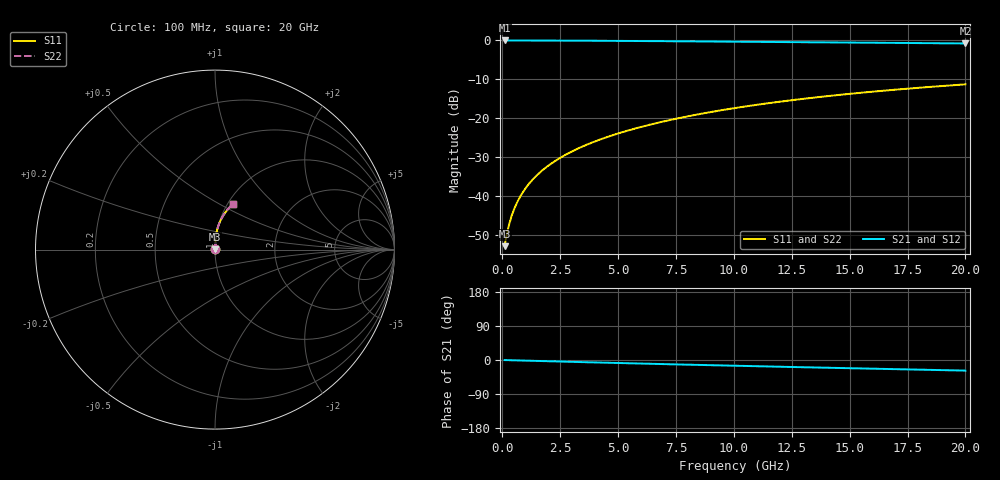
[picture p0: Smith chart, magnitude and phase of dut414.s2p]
! Touchstone file exported from HFSS 2024.1.0
!  File:  C:/UserFiles/LocalFiles/RDL_TSV_Batchsim/temp_RDL_top_414_1779675696.aedt
!  Generated:  10:23:54 AM May 25, 2026
!  Design:  RDL_top
!  Project:  temp_RDL_top_414_1779675696
!  Setup:  Setup1
!  Solution:  Sweep
! Variables:
!  dtsv = 10.80580581um
!  hbump = 3um
!  htsv = 89.86um
!  ldown = 100um
!  lrdl = 379.2um
!  p = 40
!  p1 = 48.55um
!  rhole = 1um
!  t = 450um
!  tdown = 3.915915916um
!  trdl = 3.71um
!  wdown = 15.38538539um
!  wrdl = 21.82um
# GHz S MA R 50.000000
! Terminal data exported
! Port[1] = Box2_T1
! Port[2] = Box2_T2
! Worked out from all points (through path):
!   200 points, 100 MHz to 20 GHz, reference 50 ohm
!   highest |S21| = -0.02 dB at 100 MHz (marker M1); lowest = -0.8 dB at 20 GHz (marker M2)
!   group delay of S21, straight-line fit = 3.85 ps
!   lowest |S11| = -52.7 dB at 100 MHz (marker M3), VSWR 1.00, Z = 50.2 + j0.137 ohm
!   |S11| at or under -10 dB: start of sweep to end of sweep
!   |S22| runs from -52.7 to -11.3 dB; largest |S21 - S12| = 4.5e-15
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0.1  0.002306 36.3  0.9981 -0.2  0.9981 -0.2  0.002306 36.3
! Gamma 0 0 0 0
! Port Impedance 50 0 50 0
0.2  0.003314 54.0  0.998 -0.3  0.998 -0.3  0.003314 54.0
0.3  0.004439 62.6  0.9979 -0.5  0.9979 -0.5  0.004439 62.6
0.4  0.005588 67.8  0.9978 -0.7  0.9978 -0.7  0.005588 67.8
0.5  0.006747 71.2  0.9977 -0.8  0.9977 -0.8  0.006747 71.2
0.6  0.007916 73.8  0.9976 -1.0  0.9976 -1.0  0.007916 73.8
0.8  0.01028 77.3  0.9974 -1.3  0.9974 -1.3  0.01028 77.3
1.1  0.01389 80.4  0.997 -1.8  0.997 -1.8  0.01389 80.4
1.3  0.01632 81.8  0.9967 -2.1  0.9967 -2.1  0.01632 81.8
1.6  0.02001 83.2  0.9963 -2.6  0.9963 -2.6  0.02001 83.2
2.1  0.02622 84.7  0.9953 -3.4  0.9953 -3.4  0.02622 84.7
2.7  0.03381 85.7  0.9938 -4.4  0.9938 -4.4  0.03381 85.6
3.5  0.04413 86.3  0.9914 -5.7  0.9914 -5.7  0.04412 86.2
4.2  0.05336 86.4  0.989 -6.7  0.989 -6.7  0.05336 86.4
5  0.06413 86.3  0.9858 -8.0  0.9858 -8.0  0.06413 86.3
5.9  0.07652 85.9  0.982 -9.3  0.982 -9.3  0.07652 85.9
6.8  0.08915 85.3  0.978 -10.6  0.978 -10.6  0.08914 85.2
8.4  0.112 83.8  0.9705 -12.9  0.9705 -12.9  0.112 83.7
10.1  0.1366 81.8  0.9624 -15.2  0.9624 -15.2  0.1366 81.8
13.4  0.1841 77.5  0.9464 -19.6  0.9464 -19.6  0.184 77.5
16.7  0.2299 72.9  0.9302 -23.9  0.9302 -23.9  0.2298 72.9
20  0.2732 68.5  0.9136 -28.0  0.9136 -28.0  0.2731 68.4
